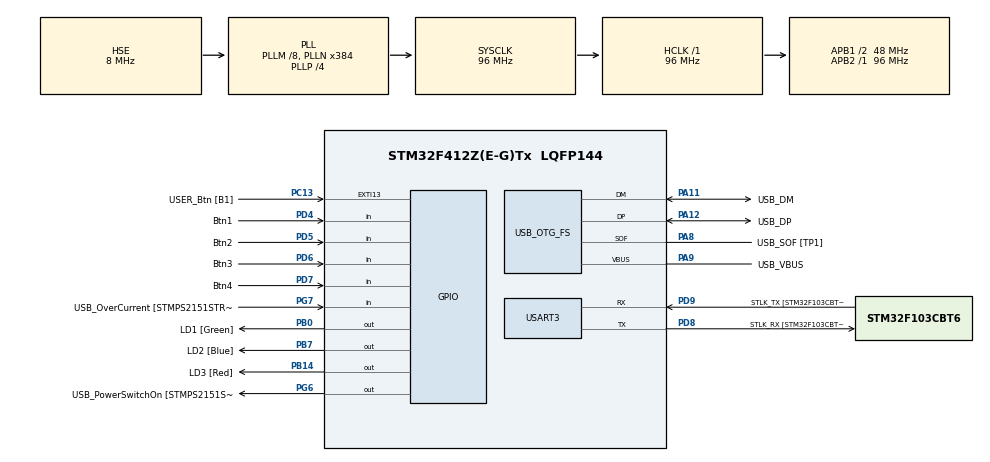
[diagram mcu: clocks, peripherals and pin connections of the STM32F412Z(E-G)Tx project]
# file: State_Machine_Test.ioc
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Mcu.Family=STM32F4
Mcu.Name=STM32F412Z(E-G)Tx
Mcu.Package=LQFP144
NVIC.PriorityGroup=NVIC_PRIORITYGROUP_4
PA10.GPIO_Label=USB_ID
PA10.Signal=USB_OTG_FS_ID
PA11.GPIO_Label=USB_DM
PA11.Mode=Device_Only
PA11.Signal=USB_OTG_FS_DM
PA12.GPIO_Label=USB_DP
PA12.Mode=Device_Only
PA12.Signal=USB_OTG_FS_DP
PA13.GPIO_Label=TMS
PA13.Mode=Serial_Wire
PA13.Signal=SYS_JTMS-SWDIO
PA14.GPIO_Label=TCK
PA14.Mode=Serial_Wire
PA14.Signal=SYS_JTCK-SWCLK
PA8.GPIO_Label=USB_SOF [TP1]
PA8.Mode=Activate_SOF_FS
PA8.Signal=USB_OTG_FS_SOF
PA9.GPIO_Label=USB_VBUS
PA9.Mode=Activate_VBUS
PA9.Signal=USB_OTG_FS_VBUS
PB0.GPIO_Label=LD1 [Green]
PB0.Signal=GPIO_Output
PB14.GPIO_Label=LD3 [Red]
PB14.Signal=GPIO_Output
PB3.GPIO_Label=SWO
PB3.Signal=SYS_JTDO-SWO
PB7.GPIO_Label=LD2 [Blue]
PB7.Signal=GPIO_Output
PC13.GPIO_Label=USER_Btn [B1]
PC13.Signal=GPXTI13
PC14-OSC32_IN.Mode=LSE-External-Oscillator
PC14-OSC32_IN.Signal=RCC_OSC32_IN
PC15-OSC32_OUT.Mode=LSE-External-Oscillator
PC15-OSC32_OUT.Signal=RCC_OSC32_OUT
PD4.GPIO_Label=Btn1
PD4.Signal=GPIO_Input
PD5.GPIO_Label=Btn2
PD5.Signal=GPIO_Input
PD6.GPIO_Label=Btn3
PD6.Signal=GPIO_Input
PD7.GPIO_Label=Btn4
PD7.Signal=GPIO_Input
PD8.GPIO_Label=STLK_RX [STM32F103CBT6_PA3]
PD8.Mode=Asynchronous
PD8.Signal=USART3_TX
PD9.GPIO_Label=STLK_TX [STM32F103CBT6_PA2]
PD9.Mode=Asynchronous
PD9.Signal=USART3_RX
PG6.GPIO_Label=USB_PowerSwitchOn [STMPS2151STR_EN]
PG6.Signal=GPIO_Output
PG7.GPIO_Label=USB_OverCurrent [STMPS2151STR_FAULT]
PG7.Signal=GPIO_Input
PH0\ -\ OSC_IN.GPIO_Label=MCO
PH0\ -\ OSC_IN.Mode=HSE-External-Clock-Source
PH0\ -\ OSC_IN.Signal=RCC_OSC_IN
PH1\ -\ OSC_OUT.Mode=HSE-External-Clock-Source
PH1\ -\ OSC_OUT.Signal=RCC_OSC_OUT
ProjectManager.HeapSize=0x200
ProjectManager.StackSize=0x400
ProjectManager.TargetToolchain=STM32CubeIDE
RCC.48MHZClocksFreq_Value=24000000
RCC.AHBFreq_Value=96000000
RCC.APB1CLKDivider=RCC_HCLK_DIV2
RCC.APB1Freq_Value=48000000
RCC.APB1TimFreq_Value=96000000
RCC.APB2Freq_Value=96000000
RCC.APB2TimFreq_Value=96000000
RCC.CortexFreq_Value=96000000
RCC.HCLKFreq_Value=96000000
RCC.HSE_VALUE=8000000
RCC.HSI_VALUE=16000000
RCC.PLLM=8
RCC.PLLMUL=RCC_PLL_MUL9
RCC.PLLN=384
RCC.PLLP=RCC_PLLP_DIV4
RCC.PLLQ=8
RCC.PRESCALERUSB=RCC_USBCLKSOURCE_PLL_DIV1_5
RCC.SYSCLKFreq_VALUE=96000000
RCC.SYSCLKSource=RCC_SYSCLKSOURCE_PLLCLK
RCC.SYSCLKSourceVirtual=RCC_SYSCLKSOURCE_PLLCLK
RCC.USBFreq_Value=48000000
RCC.VCOOutputFreq_Value=384000000
USART3.VirtualMode=VM_ASYNC
USB_OTG_FS.VirtualMode=Device_Only
board=NUCLEO-F412ZG

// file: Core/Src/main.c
/* USER CODE BEGIN Header */
/**
  ******************************************************************************
  * @file           : main.c
  * @brief          : Main program body
  ******************************************************************************
  * @attention
  *
  * <h2><center>&copy; Copyright (c) 2021 STMicroelectronics.
  * All rights reserved.</center></h2>
  *
  * This software component is licensed by ST under BSD 3-Clause license,
  * the "License"; You may not use this file except in compliance with the
  * License. You may obtain a copy of the License at:
  *                        opensource.org/licenses/BSD-3-Clause
  *
  ******************************************************************************
  */
/* USER CODE END Header */

#include "main.h"

UART_HandleTypeDef huart3;

PCD_HandleTypeDef hpcd_USB_OTG_FS;

void SystemClock_Config(void);
static void MX_GPIO_Init(void);
static void MX_USART3_UART_Init(void);
static void MX_USB_OTG_FS_PCD_Init(void);

/* USER CODE BEGIN 0 */
int Ftest = 1000;
double R;
double L;
double C;
double complex im;

double complex u;
double complex i;
double complex Z;

bool debounce = false;

int freq = 0;
double val;

char Calib[10] = "";
char Compo[10] = "";

double Utab[];
double Itab[];

eSystemState eState, eNextState;
eSystemEvent eNewEvent;

eSystemState StartHandler(eSystemEvent Event)
{
		return Menu;
}

eSystemState MenuHandler(eSystemEvent Event)
{
	if (Event == Btn_1)
	{
		strcpy(Compo, "C");
		val = C;
		return Affichage_Val;
	}
	if (Event == Btn_2)
	{
		strcpy(Compo, "L");
		val = L;
		return Affichage_Val;
	}
	if (Event == Btn_3)
	{
		strcpy(Compo, "R");
		val = R;
		return Affichage_Val;
	}
	if (Event == Btn_4)
		return Reglages;
	else
		return Menu;
}

eSystemState AffHandler(eSystemEvent Event)
{
	if (Event == Btn_retour)
	{
		val = 0;
		memset(Compo,0,strlen(Compo));
		return Menu;
	}
	else
		return Affichage_Val;
}

eSystemState RegHandler(eSystemEvent Event)
{
	if (Event == Btn_retour)
		return Menu;
	if (Event == Btn_1)
		return Reglage_Freq;
	if (Event == Btn_2)
		return Choix_Calib;
	if (Event == Btn_3)
		return Autres_Reglages;
	else
		return Reglages;
}

eSystemState Reg_FreqHandler(eSystemEvent Event)
{
	if (Event == Btn_retour)
		return Reglages;
	else
	{
		if (Event == Btn_1)
			if (freq > 0)
				freq = freq - 1;
		if (Event == Btn_2)
			freq = freq + 1;
		return Reglage_Freq;
	}
}

eSystemState Autres_RegHandler(eSystemEvent Event)
{
	if (Event == Btn_retour)
		return Reglages;
	else
		return Autres_Reglages;
}

eSystemState Choix_Calib_ConfirmHandler(eSystemEvent Event)
{
	if (Event == Btn_retour)
		return Reglages;
	if (Event == Btn_1)
	{
		return Reglages;
	}
	if (Event == Btn_2)
	{
		strcpy(Calib, "OC");
		return Choix_Calib;
	}
	if (Event == Btn_3)
	{
		strcpy(Calib, "CC");
		return Choix_Calib;
	}
	else
		return Choix_Calib;
}

//Initialize array of structure with states and event with proper handler
sStateMachine asStateMachine [] =
{
  {Menu, MenuHandler},
  {Reglages, RegHandler},
  {Affichage_Val, AffHandler},
  {Reglage_Freq, Reg_FreqHandler},
  {Autres_Reglages, Autres_RegHandler},
  {Choix_Calib, Choix_Calib_ConfirmHandler},
};

/* USER CODE END 0 */

int main(void)
{

  /* MCU Configuration--------------------------------------------------------*/

  /* Reset of all peripherals, Initializes the Flash interface and the Systick. */
  HAL_Init();

  /* Configure the system clock */
  SystemClock_Config();

  /* Initialize all configured peripherals */
  MX_GPIO_Init();
  MX_USART3_UART_Init();
  MX_USB_OTG_FS_PCD_Init();
  /* USER CODE BEGIN 2 */

  u = -1.1091e-07 + 3.5994e-09 * I;
  i = -0.0013 - 0.0390 * I;
  Z = u/i;

  R = creal(Z);
  im = cimag(Z);
  L = creal(im) / (2*pi*Ftest);
  C = -1/(creal(im) * 2*pi*Ftest);

  HAL_GPIO_WritePin(GPIOB, LD1_Pin, GPIO_PIN_SET);

  HAL_Delay(2000);

  eState = Menu;

  HAL_GPIO_WritePin(GPIOB, LD1_Pin, GPIO_PIN_RESET);
  HAL_Delay(100);
  HAL_GPIO_WritePin(GPIOB, LD2_Pin, GPIO_PIN_SET);
  HAL_Delay(100);

  /* USER CODE END 2 */

  /* Infinite loop */
  /* USER CODE BEGIN WHILE */

  while (1)
  {
	  eNewEvent = Read_Event();

	  if((eState < Last_State) && (eNewEvent < Last_Event) && (asStateMachine[eState].pfStateMachineEvnentHandler != NULL) && debounce == false)
	  {
		  debounce = true;
		  // function call as per the state and event and return the next state of the finite state machine
		  eNextState = (*asStateMachine[eState].pfStateMachineEvnentHandler)(eNewEvent);

		  if (eNextState != eState)
		  {
			  HAL_GPIO_WritePin(GPIOB, LD1_Pin|LD3_Pin|LD2_Pin, GPIO_PIN_RESET);
			  HAL_Delay(100);

			  switch (eNextState)
			  {
			  case Menu:
				  HAL_GPIO_WritePin(GPIOB, LD2_Pin, GPIO_PIN_SET);
				  HAL_Delay(100);
				  break;
			  case Reglages:
				  HAL_GPIO_WritePin(GPIOB, LD1_Pin|LD2_Pin, GPIO_PIN_SET);
				  HAL_Delay(100);
				  break;
			  case Affichage_Val:
				  HAL_GPIO_WritePin(GPIOB, LD3_Pin, GPIO_PIN_SET);
				  HAL_Delay(100);
				  break;
			  case Reglage_Freq:
				  HAL_GPIO_WritePin(GPIOB, LD1_Pin|LD3_Pin, GPIO_PIN_SET);
				  HAL_Delay(100);
				  break;
			  case Autres_Reglages:
				  HAL_GPIO_WritePin(GPIOB, LD2_Pin|LD3_Pin, GPIO_PIN_SET);
				  HAL_Delay(100);
				  break;
			  case Choix_Calib:
				  HAL_GPIO_WritePin(GPIOB, LD1_Pin|LD2_Pin|LD3_Pin, GPIO_PIN_SET);
				  HAL_Delay(100);
				  break;
			  case Last_State:
				  break;
			  }
		  }

		  eState = eNextState;

	  }
	  else
	  {
		  //Invalid
	  }

  }

    /* USER CODE END WHILE */

}

void SystemClock_Config(void)
{
  RCC_OscInitTypeDef RCC_OscInitStruct = {0};
  RCC_ClkInitTypeDef RCC_ClkInitStruct = {0};
  RCC_PeriphCLKInitTypeDef PeriphClkInitStruct = {0};

  /** Configure the main internal regulator output voltage
  */
  __HAL_RCC_PWR_CLK_ENABLE();
  __HAL_PWR_VOLTAGESCALING_CONFIG(PWR_REGULATOR_VOLTAGE_SCALE1);
  /** Initializes the CPU, AHB and APB busses clocks
  */
  RCC_OscInitStruct.OscillatorType = RCC_OSCILLATORTYPE_HSE;
  RCC_OscInitStruct.HSEState = RCC_HSE_BYPASS;
  RCC_OscInitStruct.PLL.PLLState = RCC_PLL_ON;
  RCC_OscInitStruct.PLL.PLLSource = RCC_PLLSOURCE_HSE;
  RCC_OscInitStruct.PLL.PLLM = 8;
  RCC_OscInitStruct.PLL.PLLN = 384;
  RCC_OscInitStruct.PLL.PLLP = RCC_PLLP_DIV4;
  RCC_OscInitStruct.PLL.PLLQ = 8;
  RCC_OscInitStruct.PLL.PLLR = 2;
  if (HAL_RCC_OscConfig(&RCC_OscInitStruct) != HAL_OK)
  {
    Error_Handler();
  }
  /** Initializes the CPU, AHB and APB busses clocks
  */
  RCC_ClkInitStruct.ClockType = RCC_CLOCKTYPE_HCLK|RCC_CLOCKTYPE_SYSCLK
                              |RCC_CLOCKTYPE_PCLK1|RCC_CLOCKTYPE_PCLK2;
  RCC_ClkInitStruct.SYSCLKSource = RCC_SYSCLKSOURCE_PLLCLK;
  RCC_ClkInitStruct.AHBCLKDivider = RCC_SYSCLK_DIV1;
  RCC_ClkInitStruct.APB1CLKDivider = RCC_HCLK_DIV2;
  RCC_ClkInitStruct.APB2CLKDivider = RCC_HCLK_DIV1;

  if (HAL_RCC_ClockConfig(&RCC_ClkInitStruct, FLASH_LATENCY_3) != HAL_OK)
  {
    Error_Handler();
  }
  PeriphClkInitStruct.PeriphClockSelection = RCC_PERIPHCLK_CLK48;
  PeriphClkInitStruct.Clk48ClockSelection = RCC_CLK48CLKSOURCE_PLLQ;
  if (HAL_RCCEx_PeriphCLKConfig(&PeriphClkInitStruct) != HAL_OK)
  {
    Error_Handler();
  }
}

static void MX_USART3_UART_Init(void)
{

  huart3.Instance = USART3;
  huart3.Init.BaudRate = 115200;
  huart3.Init.WordLength = UART_WORDLENGTH_8B;
  huart3.Init.StopBits = UART_STOPBITS_1;
  huart3.Init.Parity = UART_PARITY_NONE;
  huart3.Init.Mode = UART_MODE_TX_RX;
  huart3.Init.HwFlowCtl = UART_HWCONTROL_NONE;
  huart3.Init.OverSampling = UART_OVERSAMPLING_16;
  if (HAL_UART_Init(&huart3) != HAL_OK)
  {
    Error_Handler();
  }

}

static void MX_USB_OTG_FS_PCD_Init(void)
{

  hpcd_USB_OTG_FS.Instance = USB_OTG_FS;
  hpcd_USB_OTG_FS.Init.dev_endpoints = 6;
  hpcd_USB_OTG_FS.Init.speed = PCD_SPEED_FULL;
  hpcd_USB_OTG_FS.Init.dma_enable = DISABLE;
  hpcd_USB_OTG_FS.Init.phy_itface = PCD_PHY_EMBEDDED;
  hpcd_USB_OTG_FS.Init.Sof_enable = ENABLE;
  hpcd_USB_OTG_FS.Init.low_power_enable = DISABLE;
  hpcd_USB_OTG_FS.Init.lpm_enable = DISABLE;
  hpcd_USB_OTG_FS.Init.battery_charging_enable = ENABLE;
  hpcd_USB_OTG_FS.Init.vbus_sensing_enable = ENABLE;
  hpcd_USB_OTG_FS.Init.use_dedicated_ep1 = DISABLE;
  if (HAL_PCD_Init(&hpcd_USB_OTG_FS) != HAL_OK)
  {
    Error_Handler();
  }

}

static void MX_GPIO_Init(void)
{
  GPIO_InitTypeDef GPIO_InitStruct = {0};

  /* GPIO Ports Clock Enable */
  __HAL_RCC_GPIOC_CLK_ENABLE();
  __HAL_RCC_GPIOH_CLK_ENABLE();
  __HAL_RCC_GPIOB_CLK_ENABLE();
  __HAL_RCC_GPIOD_CLK_ENABLE();
  __HAL_RCC_GPIOG_CLK_ENABLE();
  __HAL_RCC_GPIOA_CLK_ENABLE();

  /*Configure GPIO pin Output Level */
  HAL_GPIO_WritePin(GPIOB, LD1_Pin|LD3_Pin|LD2_Pin, GPIO_PIN_RESET);

  /*Configure GPIO pin Output Level */
  HAL_GPIO_WritePin(USB_PowerSwitchOn_GPIO_Port, USB_PowerSwitchOn_Pin, GPIO_PIN_RESET);

  /*Configure GPIO pin : USER_Btn_Pin */
  GPIO_InitStruct.Pin = USER_Btn_Pin;
  GPIO_InitStruct.Mode = GPIO_MODE_IT_RISING;
  GPIO_InitStruct.Pull = GPIO_NOPULL;
  HAL_GPIO_Init(USER_Btn_GPIO_Port, &GPIO_InitStruct);

  /*Configure GPIO pins : LD1_Pin LD3_Pin LD2_Pin */
  GPIO_InitStruct.Pin = LD1_Pin|LD3_Pin|LD2_Pin;
  GPIO_InitStruct.Mode = GPIO_MODE_OUTPUT_PP;
  GPIO_InitStruct.Pull = GPIO_NOPULL;
  GPIO_InitStruct.Speed = GPIO_SPEED_FREQ_LOW;
  HAL_GPIO_Init(GPIOB, &GPIO_InitStruct);

  /*Configure GPIO pin : USB_PowerSwitchOn_Pin */
  GPIO_InitStruct.Pin = USB_PowerSwitchOn_Pin;
  GPIO_InitStruct.Mode = GPIO_MODE_OUTPUT_PP;
  GPIO_InitStruct.Pull = GPIO_NOPULL;
  GPIO_InitStruct.Speed = GPIO_SPEED_FREQ_LOW;
  HAL_GPIO_Init(USB_PowerSwitchOn_GPIO_Port, &GPIO_InitStruct);

  /*Configure GPIO pin : USB_OverCurrent_Pin */
  GPIO_InitStruct.Pin = USB_OverCurrent_Pin;
  GPIO_InitStruct.Mode = GPIO_MODE_INPUT;
  GPIO_InitStruct.Pull = GPIO_NOPULL;
  HAL_GPIO_Init(USB_OverCurrent_GPIO_Port, &GPIO_InitStruct);

  /*Configure GPIO pins : Btn1_Pin Btn2_Pin Btn3_Pin Btn4_Pin */
  GPIO_InitStruct.Pin = Btn1_Pin|Btn2_Pin|Btn3_Pin|Btn4_Pin;
  GPIO_InitStruct.Mode = GPIO_MODE_INPUT;
  GPIO_InitStruct.Pull = GPIO_NOPULL;
  HAL_GPIO_Init(GPIOD, &GPIO_InitStruct);

}

/* USER CODE BEGIN 4 */

eSystemEvent Read_Event()
{
	if(!HAL_GPIO_ReadPin(GPIOD, Btn1_Pin))
	{
		return Btn_1;
	}
	if(!HAL_GPIO_ReadPin(GPIOD, Btn2_Pin))
	{
		return Btn_2;
	}
	if(!HAL_GPIO_ReadPin(GPIOD, Btn3_Pin))
	{
		return Btn_3;
	}
	if(!HAL_GPIO_ReadPin(GPIOD, Btn4_Pin))
	{
		return Btn_4;
	}
	else
		debounce = false;

}

/* USER CODE END 4 */

void Error_Handler(void)
{
}

/************************ (C) COPYRIGHT STMicroelectronics *****END OF FILE****/
